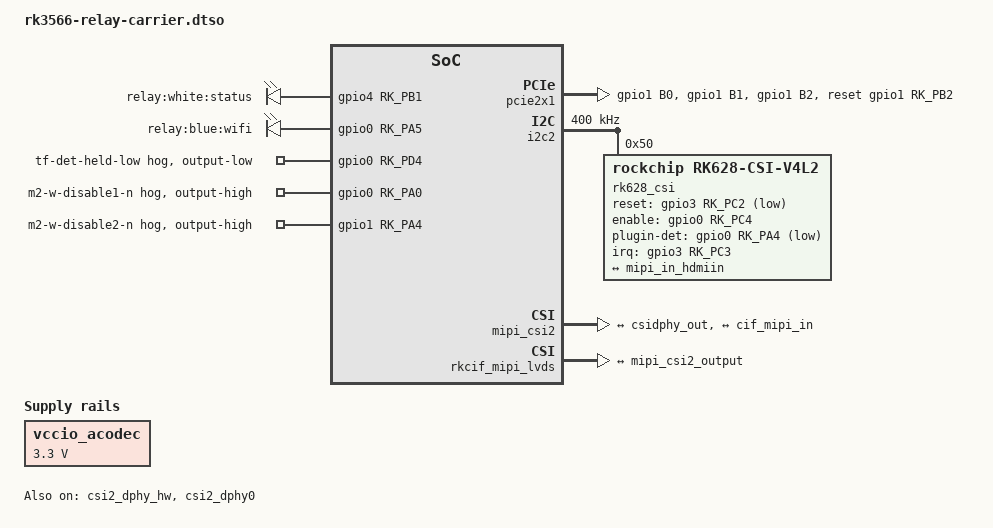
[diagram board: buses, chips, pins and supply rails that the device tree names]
// SPDX-License-Identifier: (GPL-2.0+ OR MIT)
/*
 * Device-tree overlay for the HDMI-in relay carrier, rev A, on a Radxa CM3 (RK3566, module V1.32+).
 *
 * Everything the carrier needs from software that the hardware cannot do by itself (REV_A_SPEC.md section 7,
 * kicad/REVIEW_FABLE_3.md M3). Base tree: Radxa's BSP rk3566-radxa-cm3-io.dtb (radxa/kernel linux-5.10-gen-rkr4.1,
 * rk3566-radxa-cm3-io.dts + rk3566-radxa-cm3.dtsi), the only kernel with the rk628 driver. The overlay uses that tree's
 * labels (vccio_acodec, vcc_sd, vcc5v0_usb30, tf_det, vcc_ch482d1/2, gpio_leds, hym8563, ...): an unknown label stops
 * it applying. Checked 2026-10-25: compiles with dtc 1.8.1 (-@) and applies with fdtoverlay to the rkr4.1 base built
 * from those sources; check again against the BSP you actually boot.
 *
 * Pins (kicad/gen/module.py):
 *   GPIO1_B2  PCIE_PERST_N    J68-109  VCCIO1   output, active low (reset pull-down holds the card in reset)
 *   GPIO1_B0  PCIE_CLKREQ_N   J68-102  VCCIO1   PCIE20_CLKREQn_M2 (function 4), needs the SoC pull-up
 *   GPIO1_B1  PCIE_WAKE_N     J1-38    VCCIO1   PCIE20_WAKEn_M2 (function 4), needs the SoC pull-up
 *   GPIO1_A4  BT_DISABLE_N    J1-40    VCCIO1   W_DISABLE2#: low = Bluetooth off; hogged high (on)
 *   GPIO0_A0  WIFI_DISABLE_N  J1-74    PMUIO1   W_DISABLE1#: low = Wi-Fi off (10k pull-up); hogged high (on)
 *   GPIO3_C2  RK628D_RESET_N  J1-10    VCCIO5   active low
 *   GPIO3_C3  RK628D_INT      J1-12    VCCIO5   input; leave the RK628D's INT an input until reset is released
 *   GPIO0_C4  RK628D_PWR_EN   J1-95    PMUIO2   high = RK628D powered (NPN -> P-FET), 100k pull-down = off
 *   GPIO0_A4  RK628D_PLUGIN_DET J69-76 PMUIO1   low = HDMI source connected (10k pull-up on the board)
 *   GPIO4_B1  LED_STATUS      J69-34   VCCIO6   high = on (white, 150R)
 *   GPIO0_A5  LED_WIFI        J69-75   PMUIO1   high = on (blue, 150R)
 *   GPIO0_D4  TF_DET          (module)          keep low: driven high, the module's Q4 pulls PLUGIN_DET low
 *   I2C2_M1   RK628D I2C      J69-35/36 VCCIO6  SCL GPIO4_B5, SDA GPIO4_B4, 4.7k to 3.3 V on the board
 *
 * Taken back from the IO-board base tree (it drives these as its own SD, USB and LED signals; kicad/REVIEW_FINAL.md M1):
 *   GPIO0_A4/A5  sdmmc0 card detect and vcc_sd enable    -> PLUGIN_DET and LED_WIFI here: sdmmc0 and vcc_sd off
 *   GPIO3_C2     vcc5v0_usb30 enable, always on (high)   -> RK628D_RESET_N here: regulator off, USB phy on vcc5v0_sys
 *   GPIO0_D4     tf_det regulator (holds it low)          -> replaced by the hog below
 *   GPIO3_C6/C7  vcc_ch482d1/2 enables, always on (low)   -> DVP_D0/D1 on the SDI header: off
 *   GPIO4_A4/B7  pi-led-green (heartbeat), pwr-led-red    -> DVP_D14/DVP_VSYNC on the SDI header: off
 *   I2C2 0x51    hym8563 RTC (not on this board)          -> off; I2C2 is the RK628D's bus
 *   GPIO0_A0 (WIFI_DISABLE_N) and GPIO0_D3 are not claimed by the base tree.
 *
 * Board-level facts behind the capture path at the end:
 *   - CSI: 4 data lanes on CSI0, D0..D3 in order, clock CLK0; no lane swap or polarity swap on the board.
 *     After length matching the worst data-to-clock skew is 6.3 mm (about 40 ps, 0.05 UI at 1.2 Gb/s):
 *     any RK628D lane rate up to its 1.2 Gb/s maximum is fine. Watch the CSI CRC/ECC counters at bring-up.
 *   - Bluetooth of the M.2 card is on USB2 HOST2 (J1-63/65); enable that host port.
 *   - Debug UART (UART2_M0, J69-51/55) is 3.3 V: PMUIO2 follows GPIO_VREF on the V1.322 module.
 */

/dts-v1/;
/plugin/;

#include <dt-bindings/gpio/gpio.h>
#include <dt-bindings/interrupt-controller/irq.h>
#include <dt-bindings/pinctrl/rockchip.h>

/* VCCIO1 = VCCIO_ACODEC (RK817/RK809 LDO4) carries PERST#, CLKREQ#, WAKE# and BT_DISABLE#. It is off at power-up;
 * without it on at 3.3 V the SoC cannot drive or read those pins and Wi-Fi/Bluetooth never come up. */
&vccio_acodec {
	regulator-min-microvolt = <3300000>;
	regulator-max-microvolt = <3300000>;
	regulator-always-on;
	regulator-boot-on;
};

/* The IO board's SD slot, USB supply switch, CH482D switches, LEDs and RTC are not on this carrier; its pins are reused */
&sdmmc0 {
	status = "disabled";
};

&vcc_sd {
	status = "disabled";
};

&vcc5v0_usb30 {
	status = "disabled";
};

&u2phy0_host {
	phy-supply = <&vcc5v0_sys>;
};

&tf_det {
	status = "disabled";
};

&vcc_ch482d1 {
	status = "disabled";
};

&vcc_ch482d2 {
	status = "disabled";
};

&gpio_leds {
	pi-led-green {
		status = "disabled";
	};

	pwr-led-red {
		status = "disabled";
	};
};

&hym8563 {
	status = "disabled";
};

&pmu_io_domains {
	vccio1-supply = <&vccio_acodec>;
	status = "okay";
};

&pinctrl {
	relay {
		/* the board has no pull-ups on these any more (they back-fed the unpowered bank): the SoC's own */
		pcie20m2_relay: pcie20m2-relay-pins {
			rockchip,pins =
				<1 RK_PB0 4 &pcfg_pull_up>,	/* PCIE20_CLKREQn_M2 */
				<1 RK_PB1 4 &pcfg_pull_up>;	/* PCIE20_WAKEn_M2 */
		};
		pcie_perst: pcie-perst-pin {
			rockchip,pins = <1 RK_PB2 RK_FUNC_GPIO &pcfg_pull_down>;
		};
		/* W_DISABLE1#/2#: held high (radios on) by the hogs below; the pull-up covers the time before they run */
		m2_disable: m2-disable-pins {
			rockchip,pins =
				<1 RK_PA4 RK_FUNC_GPIO &pcfg_pull_up>,	/* BT_DISABLE_N (R505 not fitted) */
				<0 RK_PA0 RK_FUNC_GPIO &pcfg_pull_up>;	/* WIFI_DISABLE_N (R504 10k as well) */
		};
		rk628_pins: rk628-pins {
			rockchip,pins =
				<3 RK_PC2 RK_FUNC_GPIO &pcfg_pull_none>,	/* RESET_N */
				<3 RK_PC3 RK_FUNC_GPIO &pcfg_pull_down>,	/* INT */
				<0 RK_PC4 RK_FUNC_GPIO &pcfg_pull_none>,	/* PWR_EN */
				<0 RK_PA4 RK_FUNC_GPIO &pcfg_pull_none>;	/* PLUGIN_DET */
		};
		led_pins: led-pins {
			rockchip,pins =
				<4 RK_PB1 RK_FUNC_GPIO &pcfg_pull_none>,
				<0 RK_PA5 RK_FUNC_GPIO &pcfg_pull_none>;
		};
	};
};

/* M.2 E-key card (RTL8822CE class): PCIe 2.0 x1, card powered from the always-on 3V3_IO rail */
&pcie2x1 {
	pinctrl-names = "default";
	pinctrl-0 = <&pcie20m2_relay &pcie_perst>;
	reset-gpios = <&gpio1 RK_PB2 GPIO_ACTIVE_HIGH>;
	/* max-link-speed = <1>; */	/* fall back to Gen1 if the link does not train at Gen2 */
	status = "okay";
};

&{/} {
	relay-leds {
		compatible = "gpio-leds";
		pinctrl-names = "default";
		pinctrl-0 = <&led_pins>;

		led-status {
			label = "relay:white:status";
			gpios = <&gpio4 RK_PB1 GPIO_ACTIVE_HIGH>;
			default-state = "on";
		};

		led-wifi {
			label = "relay:blue:wifi";
			gpios = <&gpio0 RK_PA5 GPIO_ACTIVE_HIGH>;
			linux,default-trigger = "phy0tx";
		};
	};
};

/* TF_DET (GPIO0_D4) drives the module's Q4, which pulls GPIO0_A4 (our PLUGIN_DET) low: hold it low (tf_det is off above) */
&gpio0 {
	pinctrl-names = "default";
	pinctrl-0 = <&m2_disable>;

	tf-det-low-hog {
		gpio-hog;
		gpios = <RK_PD4 GPIO_ACTIVE_HIGH>;
		output-low;
		line-name = "tf-det-held-low";
	};

	/* W_DISABLE1# high = Wi-Fi on. Not rfkill-gpio: that driver is ACPI-only in this kernel (and wants the opposite
	 * polarity). Turn the radios off in software (rfkill on the card's own drivers) instead. */
	wifi-enable-hog {
		gpio-hog;
		gpios = <RK_PA0 GPIO_ACTIVE_HIGH>;
		output-high;
		line-name = "m2-w-disable1-n";
	};
};

/* W_DISABLE2# high = Bluetooth on. GPIO1_A4 is in VCCIO1 (VCCIO_ACODEC, 3.3 V always on above). */
&gpio1 {
	bt-enable-hog {
		gpio-hog;
		gpios = <RK_PA4 GPIO_ACTIVE_HIGH>;
		output-high;
		line-name = "m2-w-disable2-n";
	};
};

/* RK628D on I2C2_M1, as the BSP's HDMI-RX -> MIPI CSI-2 V4L2 subdevice (drivers/media/i2c/rk628/rk628_csi_v4l2.c,
 * CONFIG_VIDEO_RK628_CSI; binding Documentation/devicetree/bindings/media/i2c/rk628-csi-v4l2.txt). Not
 * "rockchip,rk628": that is the display-bridge MFD. The driver needs the camera-module properties and the endpoint;
 * the capture path is RK628D -> csi2_dphy0 (full mode, 4 lanes) -> mipi_csi2 -> rkcif_mipi_lvds (/dev/video*). */
&i2c2 {
	pinctrl-names = "default";
	pinctrl-0 = <&i2c2m1_xfer>;
	clock-frequency = <400000>;
	#address-cells = <1>;
	#size-cells = <0>;
	status = "okay";

	rk628_csi: rk628-csi@50 {
		compatible = "rockchip,rk628-csi-v4l2";
		reg = <0x50>;	/* RK628D_I2C_ADDR (ball C7) strapped low through 10k (kicad/gen/hdmi_in.py): 0x50 */
		pinctrl-names = "default";
		pinctrl-0 = <&rk628_pins>;
		interrupt-parent = <&gpio3>;
		interrupts = <RK_PC3 IRQ_TYPE_LEVEL_HIGH>;
		reset-gpios = <&gpio3 RK_PC2 GPIO_ACTIVE_LOW>;
		enable-gpios = <&gpio0 RK_PC4 GPIO_ACTIVE_HIGH>;
		plugin-det-gpios = <&gpio0 RK_PA4 GPIO_ACTIVE_LOW>;

		rockchip,camera-module-index = <0>;
		rockchip,camera-module-facing = "back";
		rockchip,camera-module-name = "RK628-CSI";
		rockchip,camera-module-lens-name = "NC";
		status = "okay";

		port {
			hdmiin_out0: endpoint {
				remote-endpoint = <&mipi_in_hdmiin>;
				data-lanes = <1 2 3 4>;
			};
		};
	};
};

&csi2_dphy_hw {
	status = "okay";
};

&csi2_dphy0 {
	status = "okay";

	ports {
		#address-cells = <1>;
		#size-cells = <0>;

		port@0 {
			reg = <0>;
			#address-cells = <1>;
			#size-cells = <0>;

			mipi_in_hdmiin: endpoint@1 {
				reg = <1>;
				remote-endpoint = <&hdmiin_out0>;
				data-lanes = <1 2 3 4>;
			};
		};

		port@1 {
			reg = <1>;
			#address-cells = <1>;
			#size-cells = <0>;

			csidphy_out: endpoint@0 {
				reg = <0>;
				remote-endpoint = <&mipi_csi2_input>;
			};
		};
	};
};

&mipi_csi2 {
	status = "okay";

	ports {
		#address-cells = <1>;
		#size-cells = <0>;

		port@0 {
			reg = <0>;
			#address-cells = <1>;
			#size-cells = <0>;

			mipi_csi2_input: endpoint@1 {
				reg = <1>;
				remote-endpoint = <&csidphy_out>;
				data-lanes = <1 2 3 4>;
			};
		};

		port@1 {
			reg = <1>;
			#address-cells = <1>;
			#size-cells = <0>;

			mipi_csi2_output: endpoint@0 {
				reg = <0>;
				remote-endpoint = <&cif_mipi_in>;
				data-lanes = <1 2 3 4>;
			};
		};
	};
};

&rkcif_mipi_lvds {
	status = "okay";

	port {
		cif_mipi_in: endpoint {
			remote-endpoint = <&mipi_csi2_output>;
			data-lanes = <1 2 3 4>;
		};
	};
};
